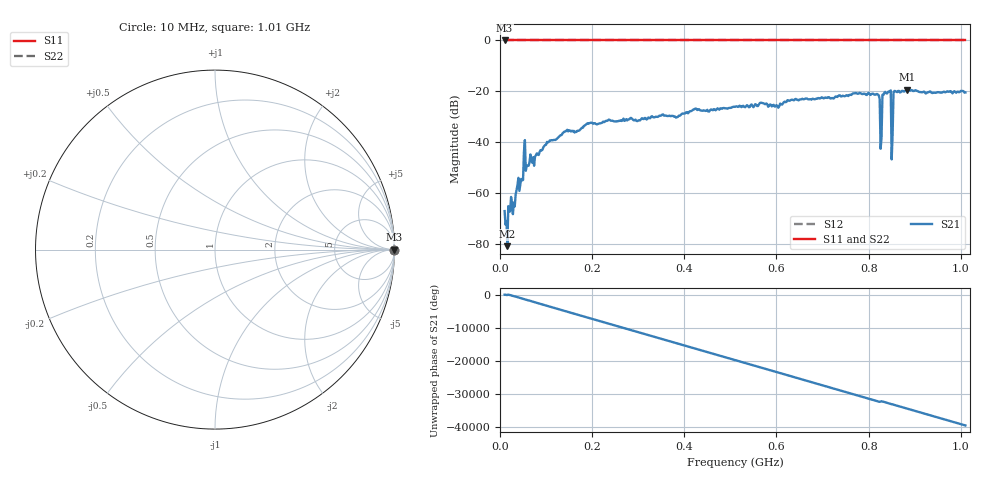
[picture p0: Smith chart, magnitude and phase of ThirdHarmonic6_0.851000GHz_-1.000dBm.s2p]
! 8/16/2025 4:10:38 AM
! C:\ANRITSUVNA\TEMP\TEMP.S2P
! CHANNEL.1
! TR.MEASUREMENT
! RAW.DATA
! RF.CORRECTION.OFF
! AVERAGING.OFF
! IF.BANDWIDTH: 5KHZ
! SWEEPTYPE:  FREQ.SWEEP(Linear)
! Reference Plane Port Info
! PORT:  PORT1  PORT2
! DISTANCE:  0  m  0  m
! TIME:  0  s  0  s
! PHASE.OFFSET:  0  deg.  0  deg.
! LOSS:  0  dB  0  dB
! REF.LOSS:  0  dB  0  dB
! REF.FREQ:  0  Hz  0  Hz
! Power Info
! POWER:  -20  dBm  -20  dBm
! EFF.POWER:  -20  dBm  -20  dBm
! SOURCE.ATTEN:  0  dB  0  dB
! TEST.ATTEN:  0  dB  0  dB
# GHZ S RI R 50.0
! FREQ.GHZ  S11RE  S11IM  S21RE  S21IM  S12RE  S12IM  S22RE  S22IM
!; PortSelection: Port_12
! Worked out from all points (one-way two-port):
!   501 points, 10 MHz to 1.01 GHz, reference 50 ohm
!   highest |S21| = -19.37 dB at 884 MHz (marker M1); lowest = -80.7 dB at 16 MHz (marker M2)
!   lowest |S11| = 0.0 dB at 10 MHz (marker M3)
!   |S11| at or under -10 dB: nowhere
!   |S22| runs from 0.0 to 0.0 dB; largest |S21 - S12| = 1.1
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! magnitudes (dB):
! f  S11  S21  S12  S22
! 10 MHz  0.0  -67.0  0.0  0.0
! 16 MHz  0.0  -80.7  0.0  0.0
! 22 MHz  0.0  -67.1  0.0  0.0
! 46 MHz  0.0  -54.3  0.0  0.0
! 50 MHz  0.0  -54.8  0.0  0.0
! 56 MHz  0.0  -51.1  0.0  0.0
! 60 MHz  0.0  -49.1  0.0  0.0
! 106 MHz  0.0  -39.8  0.0  0.0
! 178 MHz  0.0  -34.2  0.0  0.0
! 344 MHz  0.0  -29.8  0.0  0.0
! 510 MHz  0.0  -26.1  0.0  0.0
! 678 MHz  0.0  -22.9  0.0  0.0
! 818 MHz  0.0  -21.0  0.0  0.0
! 824 MHz  0.0  -23.1  0.0  0.0
! 828 MHz  0.0  -38.1  0.0  0.0
! 834 MHz  0.0  -20.6  0.0  0.0
! 844 MHz  0.0  -20.0  0.0  0.0
! 848 MHz  0.0  -19.6  0.0  0.0
! 854 MHz  0.0  -20.3  0.0  0.0
! 858 MHz  0.0  -19.9  0.0  0.0
! 884 MHz  0.0  -19.4  0.0  0.0
! 1.01 GHz  0.0  -20.4  0.0  0.0
